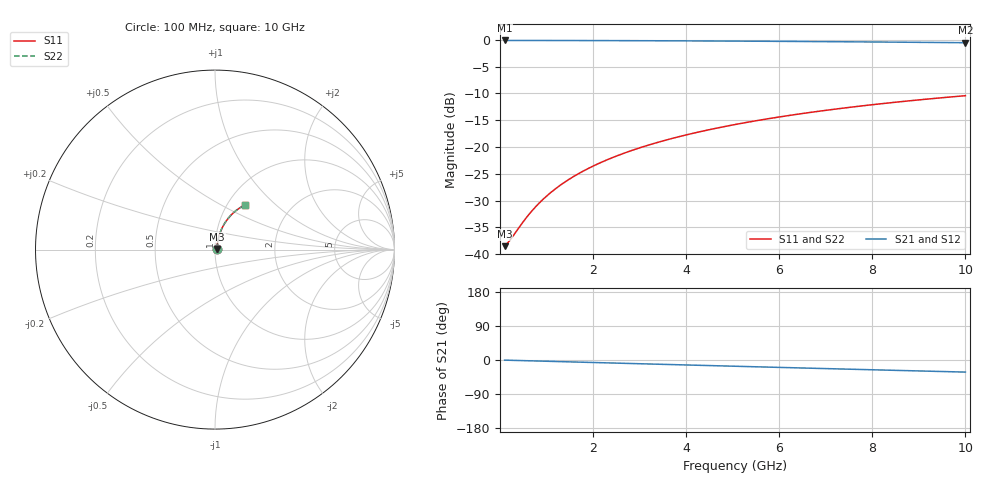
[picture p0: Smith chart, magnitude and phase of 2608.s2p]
# Hz S RI R 50.00
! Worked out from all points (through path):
!   100 points, 100 MHz to 10 GHz, reference 50 ohm
!   highest |S21| = -0.10 dB at 100 MHz (marker M1); lowest = -0.5 dB at 10 GHz (marker M2)
!   group delay of S21, straight-line fit = 8.88 ps
!   lowest |S11| = -38.5 dB at 100 MHz (marker M3), VSWR 1.02, Z = 51.2 + j0.329 ohm
!   |S11| at or under -10 dB: start of sweep to end of sweep
!   |S22| runs from -38.5 to -10.4 dB; largest |S21 - S12| = 0
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1e8  0.0114 0.00321  0.9886 -0.00568  0.9886 -0.00568  0.0114 0.00321
2e8  0.0116 0.00642  0.9884 -0.0113  0.9884 -0.0113  0.0116 0.00642
5e8  0.0121 0.016  0.9878 -0.0284  0.9878 -0.0284  0.0121 0.016
6e8  0.0123 0.0192  0.9876 -0.034  0.9876 -0.034  0.0123 0.0192
7e8  0.0126 0.0224  0.9872 -0.0397  0.9872 -0.0397  0.0126 0.0224
9e8  0.0132 0.0288  0.9865 -0.051  0.9865 -0.051  0.0132 0.0288
1.1e9  0.014 0.0352  0.9856 -0.0623  0.9856 -0.0623  0.014 0.0352
1.3e9  0.0149 0.0415  0.9845 -0.0736  0.9845 -0.0736  0.0149 0.0415
1.5e9  0.016 0.0478  0.9833 -0.0848  0.9833 -0.0848  0.016 0.0478
1.8e9  0.0178 0.0573  0.9811 -0.1016  0.9811 -0.1016  0.0178 0.0573
2.1e9  0.02 0.0666  0.9786 -0.1184  0.9786 -0.1184  0.02 0.0666
2.5e9  0.0234 0.0789  0.9746 -0.1405  0.9746 -0.1405  0.0234 0.0789
2.9e9  0.0273 0.091  0.97 -0.1625  0.97 -0.1625  0.0273 0.091
3.4e9  0.033 0.1058  0.9634 -0.1897  0.9634 -0.1897  0.033 0.1058
3.8e9  0.0381 0.1174  0.9574 -0.2112  0.9574 -0.2112  0.0381 0.1174
4.2e9  0.0438 0.1287  0.9507 -0.2324  0.9507 -0.2324  0.0438 0.1287
5.1e9  0.0581 0.153  0.9337 -0.2789  0.9337 -0.2789  0.0581 0.153
5.9e9  0.0728 0.1731  0.9163 -0.3189  0.9163 -0.3189  0.0728 0.1731
6.7e9  0.0891 0.1917  0.8969 -0.3573  0.8969 -0.3573  0.0891 0.1917
7.5e9  0.1067 0.2086  0.8757 -0.3941  0.8757 -0.3941  0.1067 0.2086
8.4e9  0.128 0.2255  0.8498 -0.4334  0.8498 -0.4334  0.128 0.2255
1e10  0.1688 0.2498  0.7996 -0.4977  0.7996 -0.4977  0.1688 0.2498
